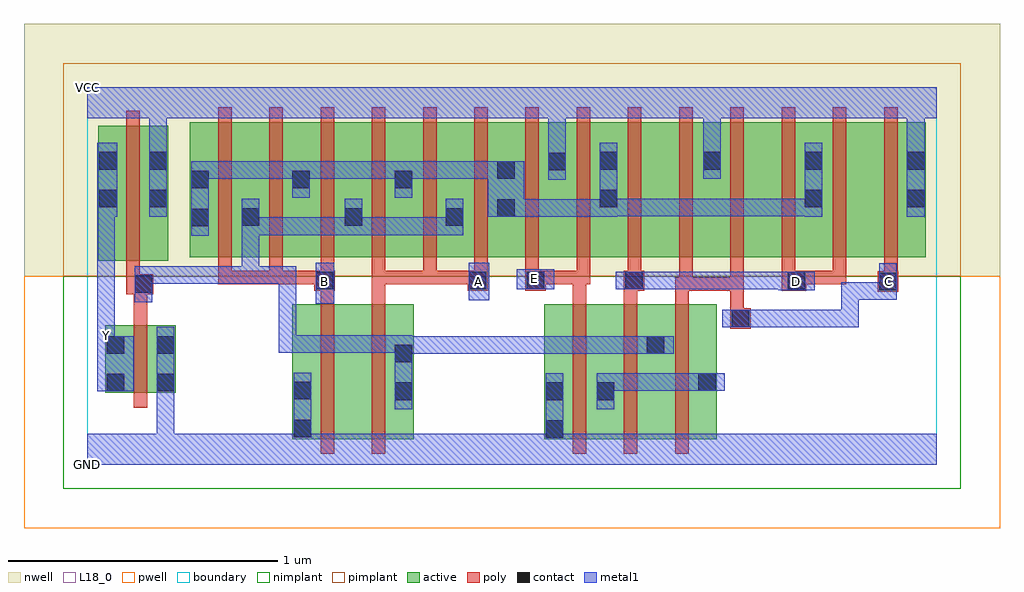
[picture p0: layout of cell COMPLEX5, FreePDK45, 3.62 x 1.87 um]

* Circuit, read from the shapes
.subckt COMPLEX5 A B C D E GND VCC Y
M1 GND n1 Y VSUBS nfet w=0.25u l=0.05u
M2 n2 B GND VSUBS nfet w=0.5u l=0.05u
M3 n1 A n2 VSUBS nfet w=0.5u l=0.05u
M4 n3 E GND VSUBS nfet w=0.5u l=0.05u
M5 n1 D n3 VSUBS nfet w=0.5u l=0.05u
M6 n3 C n1 VSUBS nfet w=0.5u l=0.05u
M7 VCC n1 Y n4 pfet w=0.5u l=0.05u
M8 n1 B n5 n4 pfet w=0.5u l=0.05u m=3
M9 n5 A n1 n4 pfet w=0.5u l=0.05u m=3
M10 VCC E n5 n4 pfet w=0.5u l=0.05u m=2
M11 n6 D n5 n4 pfet w=0.5u l=0.05u
M12 VCC C n6 n4 pfet w=0.5u l=0.05u
M13 n7 C VCC n4 pfet w=0.5u l=0.05u
M14 n5 D n7 n4 pfet w=0.5u l=0.05u
M15 n8 D n5 n4 pfet w=0.5u l=0.05u
M16 VCC C n8 n4 pfet w=0.5u l=0.05u
.ends

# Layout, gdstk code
import gdstk
lib = gdstk.Library(unit=1e-6, precision=1e-09)
def R(c, l, rs):  # rectangles x0, y0, x1, y1
    for r in rs: c.add(gdstk.rectangle(r[:2], r[2:], *l))
def A(c, l, x, y, w, h, nx, ny, dx, dy):  # array of equal rectangles
    R(c, l, [(x+i*dx, y+j*dy, x+i*dx+w, y+j*dy+h) for i in range(nx) for j in range(ny)])
active = (1, 0)
pwell = (2, 0)
nwell = (3, 0)
nimplant = (4, 0)
pimplant = (5, 0)
poly = (9, 0)
contact = (10, 0)
metal1 = (11, 0)
L18_0 = (18, 0)
boundary = (235, 0)

complex5 = lib.new_cell('COMPLEX5')
A(complex5, active, 1.135, 0.77, 0.265, 0.5, 4, 1, 0.19, 0)
A(complex5, active, 1.135, 0.77, 0.075, 0.43, 3, 1, 0.38, 0)
R(complex5, active, [(0.76,0.095,0.835,0.595), (0.76,0.095,0.985,0.595), (0.985,0.095,1.21,0.595), (1.695,0.095,1.96,0.595), (1.695,0.095,1.77,0.595), (1.885,0.095,2.145,0.595), (2.07,0.095,2.335,0.595), (1.135,0.145,1.21,0.595), (1.885,0.145,1.96,0.592), (2.07,0.145,2.145,0.592), (2.26,0.145,2.335,0.595), (0.067,0.267,0.142,0.517), (0.067,0.267,0.327,0.517), (0.252,0.267,0.327,0.517), (0.04,0.757,0.3,1.257), (0.04,0.757,0.115,1.2), (0.225,0.757,0.3,1.257), (0.38,0.77,0.455,1.2), (0.38,0.77,0.642,1.27), (0.567,0.77,0.642,1.07), (0.567,0.77,0.83,1.27), (0.755,0.77,1.025,1.27), (0.95,0.77,1.21,1.27), (0.95,0.77,1.025,1.07), (1.325,0.77,1.4,1.07), (1.705,0.77,1.78,1.27), (1.895,0.77,2.125,1.27), (2.125,0.77,2.355,1.27), (2.28,0.77,2.355,1.27), (2.28,0.77,2.505,1.27), (2.505,0.77,2.73,1.27), (2.655,0.77,2.885,1.27), (2.655,0.77,2.73,1.2), (2.885,0.77,3.11,1.27), (3.035,0.77,3.11,1.27), (0.755,0.807,0.83,1.2)])
R(complex5, pwell, [(-0.235,-0.235,3.385,0.7)])
R(complex5, nwell, [(-0.235,0.7,3.385,1.635)])
R(complex5, nimplant, [(-0.09,-0.09,3.24,0.7)])
R(complex5, pimplant, [(-0.09,0.7,3.24,1.49)])
A(complex5, poly, 1.8, 0.04, 0.05, 0.61, 3, 1, 0.19, 0)
A(complex5, poly, 0.485, 0.67, 0.05, 0.095, 9, 1, 0.19, 0)
A(complex5, poly, 0.485, 0.715, 0.05, 0.61, 14, 1, 0.19, 0)
R(complex5, poly, [(0.865,0.04,0.915,0.65), (1.055,0.04,1.105,0.65), (0.172,0.212,0.222,0.572), (2.385,0.505,2.46,0.58), (0.172,0.522,0.222,0.682), (2.385,0.53,2.435,0.58), (2.385,0.53,2.435,0.58), (2.385,0.53,2.435,0.695), (0.865,0.6,0.915,0.695), (1.055,0.6,1.105,0.72), (1.8,0.6,1.85,0.72), (1.99,0.6,2.04,0.695), (2.18,0.6,2.23,0.695), (0.145,0.632,0.245,0.707), (2.932,0.642,3.007,0.717), (0.842,0.645,0.917,0.72), (1.41,0.645,1.485,0.72), (1.625,0.645,1.7,0.72), (1.99,0.645,2.065,0.72), (2.18,0.645,2.245,0.695), (2.195,0.645,2.245,0.695), (2.195,0.645,2.245,0.695), (2.195,0.645,2.245,0.765), (2.195,0.645,2.435,0.695), (2.385,0.645,2.435,0.695), (2.385,0.645,2.435,0.765), (2.575,0.645,2.667,0.72), (0.145,0.657,0.195,0.752), (2.955,0.667,3.005,0.765), (0.485,0.67,0.535,0.72), (0.485,0.67,0.535,0.72), (0.485,0.67,0.535,0.72), (0.485,0.67,0.725,0.72), (0.675,0.67,0.725,0.72), (0.675,0.67,0.725,0.72), (0.675,0.67,0.725,0.72), (0.675,0.67,0.892,0.72), (1.055,0.67,1.105,0.72), (1.055,0.67,1.105,0.72), (1.055,0.67,1.105,0.72), (1.055,0.67,1.295,0.72), (1.245,0.67,1.295,0.72), (1.245,0.67,1.295,0.72), (1.245,0.67,1.295,0.72), (1.245,0.67,1.46,0.72), (1.65,0.67,1.85,0.72), (1.8,0.67,1.85,0.72), (1.8,0.67,1.85,0.72), (1.8,0.67,1.865,0.72), (2.575,0.67,2.625,0.765), (2.617,0.67,2.815,0.72), (2.765,0.67,2.815,0.765), (2.765,0.67,2.815,0.72), (2.765,0.67,2.815,0.72), (2.765,0.67,2.815,0.72), (0.145,0.702,0.195,1.312)])
R(complex5, contact, [(1.7,0.1,1.765,0.165), (0.765,0.102,0.83,0.167), (1.14,0.24,1.205,0.305), (1.7,0.24,1.765,0.305), (1.89,0.24,1.955,0.305), (0.765,0.242,0.83,0.307), (0.072,0.272,0.137,0.337), (0.257,0.272,0.322,0.337), (2.265,0.275,2.33,0.34), (1.14,0.38,1.205,0.445), (0.072,0.412,0.137,0.477), (0.257,0.412,0.322,0.477), (2.075,0.412,2.14,0.477), (2.39,0.51,2.455,0.575), (0.175,0.637,0.24,0.702), (2.937,0.647,3.002,0.712), (0.847,0.65,0.912,0.715), (1.415,0.65,1.48,0.715), (1.63,0.65,1.695,0.715), (1.995,0.65,2.06,0.715), (2.597,0.65,2.662,0.715), (0.385,0.885,0.45,0.95), (0.572,0.887,0.637,0.952), (0.955,0.887,1.02,0.952), (1.33,0.887,1.395,0.952), (1.52,0.92,1.585,0.985), (0.045,0.955,0.11,1.02), (0.23,0.955,0.295,1.02), (1.9,0.955,1.965,1.02), (2.66,0.955,2.725,1.02), (3.04,0.955,3.105,1.02), (0.385,1.025,0.45,1.09), (0.76,1.025,0.825,1.09), (1.14,1.025,1.205,1.09), (1.52,1.06,1.585,1.125), (1.71,1.092,1.775,1.157), (0.045,1.095,0.11,1.16), (0.23,1.095,0.295,1.16), (1.9,1.095,1.965,1.16), (2.285,1.095,2.35,1.16), (2.66,1.095,2.725,1.16), (3.04,1.095,3.105,1.16)])
R(complex5, metal1, [(0,0,3.15,0.115), (0.257,0.05,0.322,0.115), (0.257,0.05,0.322,0.115), (0.257,0.05,0.322,0.115), (0.257,0.05,0.322,0.115), (0.257,0.05,0.322,0.115), (0.257,0.05,0.322,0.115), (0.257,0.05,0.322,0.302), (0.765,0.05,0.83,0.115), (0.765,0.05,0.83,0.115), (0.765,0.05,0.83,0.132), (1.7,0.05,1.765,0.115), (1.7,0.05,1.765,0.115), (1.7,0.05,1.765,0.13), (1.7,0.065,1.765,0.34), (0.765,0.067,0.83,0.342), (1.14,0.205,1.205,0.48), (1.89,0.205,1.955,0.34), (0.257,0.237,0.322,0.512), (0.037,0.272,0.172,0.477), (1.89,0.275,2.102,0.34), (2.037,0.275,2.102,0.34), (2.037,0.275,2.102,0.34), (2.037,0.275,2.102,0.34), (2.037,0.275,2.282,0.34), (2.217,0.275,2.282,0.34), (2.217,0.275,2.295,0.34), (2.23,0.275,2.365,0.34), (0.037,0.412,0.102,0.547), (0.037,0.412,0.102,0.477), (1.14,0.412,1.205,0.477), (1.14,0.412,1.205,0.477), (1.14,0.412,1.412,0.477), (1.347,0.412,1.412,0.477), (1.347,0.412,1.412,0.477), (1.347,0.412,1.412,0.477), (1.347,0.412,1.627,0.477), (1.562,0.412,1.627,0.477), (1.562,0.412,1.627,0.477), (1.562,0.412,1.627,0.477), (1.562,0.412,1.765,0.477), (1.7,0.412,1.765,0.477), (1.7,0.412,1.765,0.477), (1.7,0.412,1.765,0.477), (1.7,0.412,1.902,0.477), (1.837,0.412,1.902,0.477), (1.837,0.412,2.105,0.477), (2.04,0.412,2.105,0.477), (2.04,0.412,2.105,0.477), (2.04,0.412,2.175,0.477), (0.71,0.415,0.775,0.48), (0.71,0.415,0.775,0.48), (0.71,0.415,0.775,0.48), (0.71,0.415,1.052,0.48), (0.71,0.415,0.775,0.737), (0.987,0.415,1.052,0.48), (0.987,0.415,1.052,0.48), (0.987,0.415,1.052,0.48), (0.987,0.415,1.205,0.48), (0.037,0.482,0.102,0.985), (2.355,0.51,2.49,0.575), (2.425,0.51,2.49,0.575), (2.425,0.51,2.49,0.575), (2.425,0.51,2.49,0.575), (2.425,0.51,2.49,0.575), (2.425,0.51,2.725,0.575), (2.66,0.51,2.725,0.575), (2.66,0.51,2.725,0.575), (2.66,0.51,2.725,0.575), (2.66,0.51,2.862,0.575), (2.797,0.51,2.862,0.677), (2.797,0.51,2.862,0.575), (2.797,0.51,2.862,0.575), (2.797,0.51,2.862,0.575), (0.847,0.597,0.915,0.75), (0.175,0.602,0.24,0.737), (1.415,0.61,1.49,0.75), (2.797,0.612,3.002,0.677), (2.797,0.612,2.862,0.677), (2.937,0.612,3.002,0.747), (2.562,0.647,2.697,0.715), (1.592,0.65,1.732,0.725), (1.96,0.65,2.095,0.715), (2.03,0.65,2.102,0.715), (2.037,0.65,2.242,0.715), (2.037,0.65,2.102,0.715), (2.177,0.65,2.242,0.715), (2.177,0.65,2.242,0.715), (2.177,0.65,2.242,0.715), (2.177,0.65,2.42,0.715), (2.355,0.65,2.42,0.715), (2.355,0.65,2.42,0.715), (2.355,0.65,2.42,0.715), (2.355,0.65,2.627,0.715), (0.175,0.672,0.24,0.737), (0.175,0.672,0.24,0.737), (0.175,0.672,0.45,0.737), (0.385,0.672,0.45,0.737), (0.385,0.672,0.45,0.737), (0.385,0.672,0.45,0.737), (0.385,0.672,0.637,0.737), (0.572,0.672,0.637,0.737), (0.572,0.672,0.637,0.737), (0.572,0.672,0.637,0.737), (0.572,0.672,0.775,0.737), (0.572,0.672,0.637,0.917), (0.71,0.672,0.775,0.737), (0.385,0.85,0.45,1.125), (0.572,0.852,0.637,0.987), (0.572,0.852,0.637,0.917), (0.572,0.852,0.637,0.917), (0.572,0.852,0.775,0.917), (0.71,0.852,0.775,0.917), (0.71,0.852,0.775,0.917), (0.71,0.852,0.775,0.917), (0.71,0.852,1.02,0.917), (0.955,0.852,1.02,0.987), (0.955,0.852,1.02,0.917), (0.955,0.852,1.02,0.917), (0.955,0.852,1.19,0.917), (1.125,0.852,1.19,0.917), (1.125,0.852,1.19,0.917), (1.125,0.852,1.19,0.917), (1.125,0.852,1.395,0.917), (1.33,0.852,1.395,0.987), (0.037,0.92,0.11,1.195), (0.23,0.92,0.295,1.195), (1.485,0.92,1.62,1.125), (1.555,0.92,1.62,0.985), (1.555,0.92,1.62,0.985), (1.555,0.92,1.62,0.985), (1.555,0.92,1.62,0.985), (1.555,0.92,1.765,0.985), (1.7,0.92,1.765,0.985), (1.7,0.92,1.765,0.985), (1.7,0.92,1.765,0.985), (1.7,0.92,1.965,0.985), (1.9,0.92,1.965,1.195), (2.66,0.92,2.725,1.195), (3.04,0.92,3.105,1.195), (1.9,0.922,2.102,0.987), (2.037,0.922,2.102,0.987), (2.037,0.922,2.102,0.987), (2.037,0.922,2.102,0.987), (2.037,0.922,2.282,0.987), (2.217,0.922,2.282,0.987), (2.217,0.922,2.282,0.987), (2.217,0.922,2.282,0.987), (2.217,0.922,2.49,0.987), (2.425,0.922,2.49,0.987), (2.425,0.922,2.49,0.987), (2.425,0.922,2.49,0.987), (2.425,0.922,2.725,0.987), (2.66,0.922,2.725,0.987), (2.66,0.922,2.725,0.987), (0.76,0.99,0.825,1.125), (1.14,0.99,1.205,1.125), (1.71,1.057,1.775,1.192), (0.385,1.06,0.45,1.125), (0.385,1.06,0.45,1.125), (0.385,1.06,0.587,1.125), (0.522,1.06,0.587,1.125), (0.522,1.06,0.587,1.125), (0.522,1.06,0.587,1.125), (0.522,1.06,0.825,1.125), (0.76,1.06,0.825,1.125), (0.76,1.06,0.825,1.125), (0.76,1.06,0.99,1.125), (0.925,1.06,0.99,1.125), (0.925,1.06,0.99,1.125), (0.925,1.06,0.99,1.125), (0.925,1.06,1.205,1.125), (1.14,1.06,1.205,1.125), (1.14,1.06,1.205,1.125), (1.14,1.06,1.342,1.125), (1.277,1.06,1.342,1.125), (1.277,1.06,1.342,1.125), (1.277,1.06,1.342,1.125), (1.277,1.06,1.55,1.125), (2.285,1.06,2.35,1.195), (1.71,1.127,1.775,1.35), (0.23,1.13,0.295,1.35), (2.285,1.13,2.35,1.35), (3.04,1.13,3.105,1.35), (0,1.285,3.15,1.4)])
R(complex5, L18_0, [(0,0,3.15,0.115), (0.257,0.05,0.322,0.115), (0.257,0.05,0.322,0.115), (0.257,0.05,0.322,0.115), (0.257,0.05,0.322,0.115), (0.257,0.05,0.322,0.115), (0.257,0.05,0.322,0.115), (0.257,0.05,0.322,0.302), (0.765,0.05,0.83,0.115), (0.765,0.05,0.83,0.115), (0.765,0.05,0.83,0.132), (1.7,0.05,1.765,0.115), (1.7,0.05,1.765,0.115), (1.7,0.05,1.765,0.13), (1.7,0.065,1.765,0.34), (0.765,0.067,0.83,0.342), (0.257,0.237,0.322,0.512), (0.037,0.272,0.172,0.477), (0.037,0.412,0.102,0.547), (0.037,0.412,0.102,0.477), (0.037,0.447,0.102,0.512), (0.037,0.482,0.102,0.985), (2.355,0.51,2.49,0.575), (2.425,0.51,2.49,0.575), (2.425,0.51,2.49,0.575), (2.425,0.51,2.49,0.575), (2.425,0.51,2.49,0.575), (2.425,0.51,2.725,0.575), (2.66,0.51,2.725,0.575), (2.66,0.51,2.725,0.575), (2.66,0.51,2.725,0.575), (2.66,0.51,2.862,0.575), (2.797,0.51,2.862,0.575), (2.797,0.51,2.862,0.575), (2.797,0.51,2.862,0.575), (2.797,0.51,2.862,0.677), (0.847,0.597,0.915,0.75), (1.415,0.61,1.49,0.75), (2.797,0.612,2.862,0.677), (2.797,0.612,3.002,0.677), (2.937,0.612,3.002,0.747), (0.847,0.647,0.912,0.712), (1.417,0.647,1.482,0.712), (2.562,0.647,2.697,0.715), (2.597,0.647,2.662,0.712), (2.937,0.647,3.002,0.712), (1.592,0.65,1.732,0.725), (1.96,0.65,2.095,0.715), (2.03,0.65,2.102,0.715), (2.037,0.65,2.102,0.715), (2.037,0.65,2.242,0.715), (2.177,0.65,2.242,0.715), (2.177,0.65,2.242,0.715), (2.177,0.65,2.242,0.715), (2.177,0.65,2.42,0.715), (2.355,0.65,2.42,0.715), (2.355,0.65,2.42,0.715), (2.355,0.65,2.42,0.715), (2.355,0.65,2.627,0.715), (1.627,0.657,1.692,0.722), (0.037,0.92,0.11,1.195), (0.23,0.92,0.295,1.195), (3.04,0.92,3.105,1.195), (1.71,1.057,1.775,1.192), (2.285,1.06,2.35,1.195), (1.71,1.127,1.775,1.35), (0.23,1.13,0.295,1.35), (2.285,1.13,2.35,1.35), (3.04,1.13,3.105,1.35), (0,1.285,3.15,1.4)])
R(complex5, boundary, [(0,0,3.15,1.4)])
complex5.add(gdstk.Label('A', (1.45,0.68), layer=11, texttype=0))
complex5.add(gdstk.Label('B', (0.88,0.68), layer=11, texttype=0))
complex5.add(gdstk.Label('C', (2.97,0.68), layer=11, texttype=0))
complex5.add(gdstk.Label('D', (2.63,0.68), layer=11, texttype=0))
complex5.add(gdstk.Label('E', (1.66,0.69), layer=11, texttype=0))
complex5.add(gdstk.Label('Y', (0.07,0.48), layer=11, texttype=0))
complex5.add(gdstk.Label('VCC', (0,1.4), layer=11, texttype=0))
complex5.add(gdstk.Label('GND', (0,0), layer=11, texttype=0))

lib.write_gds('COMPLEX5.gds')
